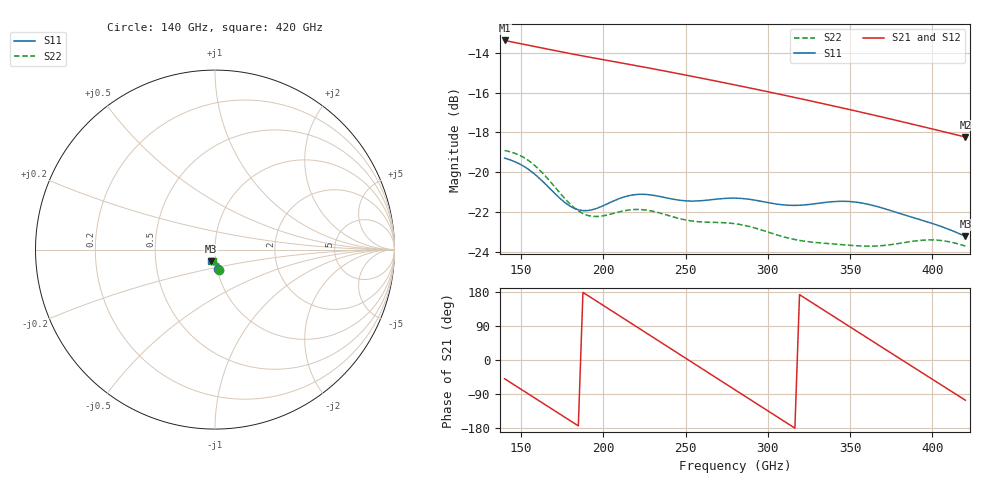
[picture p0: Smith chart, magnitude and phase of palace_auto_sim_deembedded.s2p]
! Created with skrf 1.11.0 (http://scikit-rf.org).
# GHz S DB R 50.0
!freq dBS11 angS11 dBS21 angS21 dBS12 angS12 dBS22 angS22
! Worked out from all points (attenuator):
!   101 points, 140 GHz to 420 GHz, reference 50 ohm
!   highest |S21| = -13.38 dB at 140 GHz (marker M1); lowest = -18.2 dB at 420 GHz (marker M2)
!   lowest |S11| = -23.2 dB at 420 GHz (marker M3), VSWR 1.15, Z = 47.4 - j6.21 ohm
!   |S11| at or under -10 dB: start of sweep to end of sweep
!   |S22| runs from -23.7 to -18.9 dB; largest |S21 - S12| = 3e-15
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140  -19.29 -80.5  -13.38 -49.5  -13.38 -49.5  -18.91 -78.7
151.2  -19.68 -82.6  -13.57 -80.6  -13.57 -80.6  -19.23 -82.2
162.4  -20.40 -84.7  -13.75 -111.7  -13.75 -111.7  -19.98 -86.0
176.4  -21.51 -83.3  -13.98 -150.5  -13.98 -150.5  -21.30 -86.9
187.6  -21.93 -79.0  -14.16 178.4  -14.16 178.4  -22.07 -83.6
198.8  -21.72 -75.7  -14.33 147.3  -14.33 147.3  -22.20 -79.8
212.8  -21.23 -76.2  -14.54 108.3  -14.54 108.3  -21.93 -79.1
224  -21.11 -78.8  -14.71 77.2  -14.71 77.2  -21.88 -80.9
235.2  -21.23 -81.0  -14.88 46.0  -14.88 46.0  -22.07 -82.9
254.8  -21.45 -82.4  -15.20 -8.6  -15.20 -8.6  -22.46 -84.1
268.8  -21.35 -83.7  -15.43 -47.5  -15.43 -47.5  -22.52 -84.9
280  -21.30 -85.8  -15.61 -78.7  -15.61 -78.7  -22.58 -86.6
291.2  -21.39 -88.1  -15.80 -109.8  -15.80 -109.8  -22.78 -88.4
305.2  -21.60 -89.9  -16.05 -148.7  -16.05 -148.7  -23.14 -89.7
316.4  -21.66 -90.6  -16.24 -179.8  -16.24 -179.8  -23.38 -89.9
327.6  -21.59 -91.7  -16.45 149.1  -16.45 149.1  -23.52 -89.8
338.8  -21.48 -93.7  -16.65 118.1  -16.65 118.1  -23.60 -90.0
350  -21.47 -96.6  -16.86 87.1  -16.86 87.1  -23.67 -90.3
375.2  -21.94 -102.8  -17.34 17.4  -17.34 17.4  -23.63 -90.5
386.4  -22.23 -104.6  -17.56 -13.6  -17.56 -13.6  -23.49 -91.5
400.4  -22.59 -106.6  -17.83 -52.2  -17.83 -52.2  -23.40 -94.0
420  -23.23 -109.1  -18.23 -106.2  -18.23 -106.2  -23.71 -97.7
